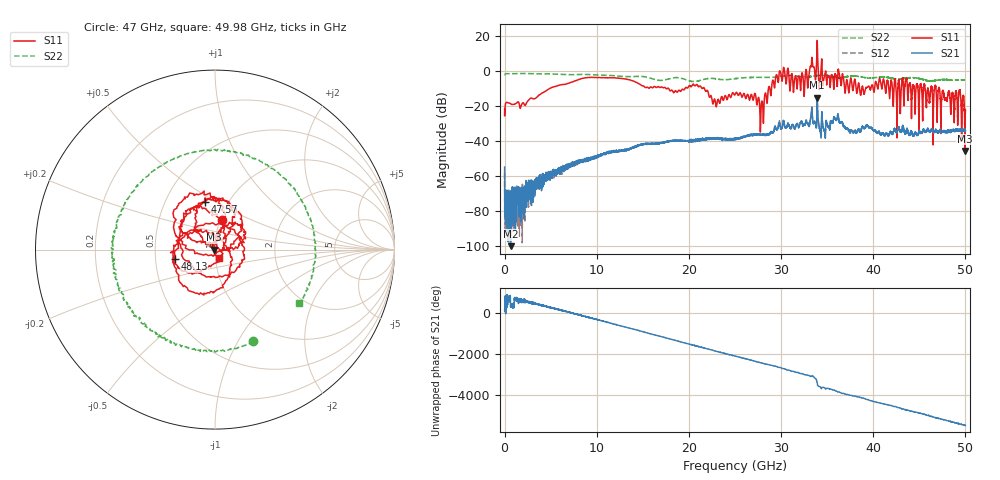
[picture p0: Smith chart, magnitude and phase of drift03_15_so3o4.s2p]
!Created with skrf (http://scikit-rf.org).
# Hz S RI R 50.0
!freq ReS11 ImS11 ReS21 ImS21 ReS12 ImS12 ReS22 ImS22
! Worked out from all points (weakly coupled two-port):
!   10001 points, 300 kHz to 50 GHz, reference 50 ohm
!   highest |S21| = -15.11 dB at 33.92 GHz (marker M1); lowest = -100.1 dB at 640.3 MHz (marker M2)
!   lowest |S11| = -45.7 dB at 49.95 GHz (marker M3), VSWR 1.01, Z = 49.5 + j0.0201 ohm
!   |S11| at or under -10 dB: start of sweep to 4.851 GHz; 21.69 GHz to 28.62 GHz (6.935 GHz wide, 27.6 % of centre); 47.19 GHz to end of sweep (the widest 3 of 45)
!   |S22| runs from -5.9 to -1.3 dB; largest |S21 - S12| = 0.02
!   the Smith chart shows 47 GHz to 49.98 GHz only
!   S11 on the Smith chart (normalised r, x): 47 GHz: 1.02, +0.34; 47.57 GHz: 0.78, +0.45; 48.13 GHz: 0.63, -0.07; 49.98 GHz: 1.04, -0.10
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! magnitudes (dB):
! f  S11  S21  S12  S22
! 300 kHz  -21.5  -54.8  -58.3  -2.0
! 260.3 MHz  -17.9  -79.4  -72.7  -1.4
! 640.3 MHz  -18.6  -100.1  -68.6  -1.5
! 8.335 GHz  -4.3  -51.7  -51.3  -1.9
! 16.67 GHz  -8.8  -41.2  -41.3  -5.2
! 21.01 GHz  -8.8  -39.3  -39.1  -5.6
! 22.81 GHz  -16.1  -38.6  -38.5  -4.2
! 25 GHz  -13.4  -38.6  -38.7  -4.3
! 27.02 GHz  -15.8  -36.1  -36.2  -3.5
! 27.92 GHz  -17.1  -36.5  -36.3  -3.5
! 29.69 GHz  -6.5  -32.2  -31.6  -3.1
! 32.32 GHz  -1.5  -30.5  -30.6  -3.3
! 33.34 GHz  7.7  -20.6  -20.9  -2.9
! 33.92 GHz  17.6  -15.1  -15.5  -2.5
! 38.81 GHz  -8.7  -31.7  -31.9  -3.4
! 41.67 GHz  -9.0  -37.1  -36.8  -3.7
! 47 GHz  -15.5  -34.8  -34.7  -5.1
! 47.57 GHz  -11.3  -34.6  -34.5  -4.8
! 48.13 GHz  -12.7  -34.9  -34.2  -4.7
! 49.95 GHz  -45.7  -33.5  -33.8  -5.0
! 49.98 GHz  -25.6  -33.5  -34.4  -5.1
! 50 GHz  -22.4  -34.5  -34.0  -5.0
